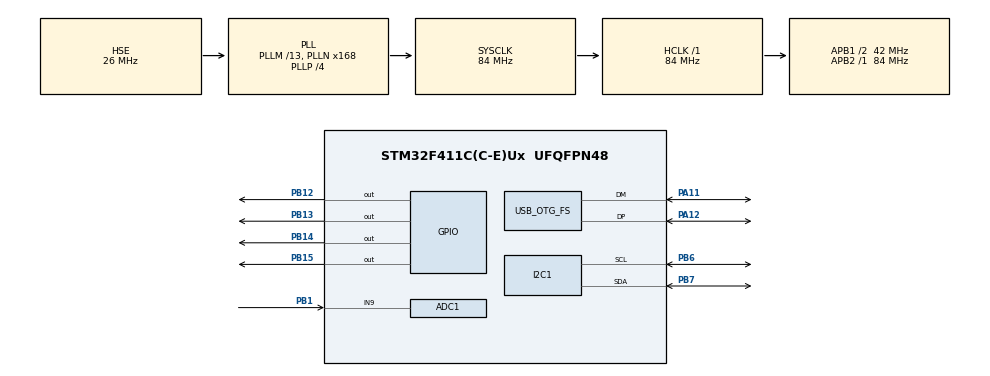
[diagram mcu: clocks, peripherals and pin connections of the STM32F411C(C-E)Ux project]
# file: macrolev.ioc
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ADC1.Channel-1\#ChannelRegularConversion=ADC_CHANNEL_9
ADC1.NbrOfConversionFlag=1
ADC1.Rank-1\#ChannelRegularConversion=1
ADC1.SamplingTime-1\#ChannelRegularConversion=ADC_SAMPLETIME_3CYCLES
ADC1.master=1
Mcu.Family=STM32F4
Mcu.Name=STM32F411C(C-E)Ux
Mcu.Package=UFQFPN48
NVIC.OTG_FS_IRQn=true\:0\:0\:false\:false\:true\:true\:true\:true
NVIC.PriorityGroup=NVIC_PRIORITYGROUP_4
PA11.Mode=Device_Only
PA11.Signal=USB_OTG_FS_DM
PA12.Mode=Device_Only
PA12.Signal=USB_OTG_FS_DP
PA13.Signal=SYS_JTMS-SWDIO
PA14.Signal=SYS_JTCK-SWCLK
PB1.Signal=ADCx_IN9
PB12.Signal=GPIO_Output
PB13.Signal=GPIO_Output
PB14.Signal=GPIO_Output
PB15.Signal=GPIO_Output
PB6.GPIO_Pu=GPIO_PULLUP
PB6.Mode=I2C
PB6.Signal=I2C1_SCL
PB7.GPIO_Pu=GPIO_PULLUP
PB7.Mode=I2C
PB7.Signal=I2C1_SDA
PH0\ -\ OSC_IN.Mode=HSE-External-Oscillator
PH0\ -\ OSC_IN.Signal=RCC_OSC_IN
PH1\ -\ OSC_OUT.Mode=HSE-External-Oscillator
PH1\ -\ OSC_OUT.Signal=RCC_OSC_OUT
ProjectManager.HeapSize=0x200
ProjectManager.StackSize=0x400
ProjectManager.TargetToolchain=STM32CubeIDE
RCC.48MHZClocksFreq_Value=48000000
RCC.AHBFreq_Value=84000000
RCC.APB1CLKDivider=RCC_HCLK_DIV2
RCC.APB1Freq_Value=42000000
RCC.APB1TimFreq_Value=84000000
RCC.APB2Freq_Value=84000000
RCC.APB2TimFreq_Value=84000000
RCC.CortexFreq_Value=84000000
RCC.HCLKFreq_Value=84000000
RCC.HSE_VALUE=26000000
RCC.HSI_VALUE=16000000
RCC.LSE_VALUE=32768
RCC.PLLM=13
RCC.PLLN=168
RCC.PLLP=RCC_PLLP_DIV4
RCC.PLLQ=7
RCC.SYSCLKFreq_VALUE=84000000
RCC.SYSCLKSource=RCC_SYSCLKSOURCE_PLLCLK
RCC.VCOOutputFreq_Value=336000000
SH.ADCx_IN9.0=ADC1_IN9,IN9
USB_OTG_FS.VirtualMode=Device_Only
board=custom

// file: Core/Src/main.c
/* USER CODE BEGIN Header */
/**
 ******************************************************************************
 * @file           : main.c
 * @brief          : Main program body
 ******************************************************************************
 * @attention
 *
 * Copyright (c) 2023 STMicroelectronics.
 * All rights reserved.
 *
 * This software is licensed under terms that can be found in the LICENSE file
 * in the root directory of this software component.
 * If no LICENSE file comes with this software, it is provided AS-IS.
 *
 ******************************************************************************
 */
/* USER CODE END Header */
#include "main.h"

/* USER CODE BEGIN Includes */
#include "config.h"
#include "hid.h"
#include "keyboard.h"
#include "tusb.h"
#include <cdc.h>
#include <ctype.h>
/* USER CODE END Includes */

ADC_HandleTypeDef hadc1;

I2C_HandleTypeDef hi2c1;

PCD_HandleTypeDef hpcd_USB_OTG_FS;

/* USER CODE BEGIN PV */
ADC_ChannelConfTypeDef ADC_channel_Config = {0};

extern struct user_config keyboard_user_config;
extern struct key keyboard_keys[ADC_CHANNEL_COUNT][AMUX_CHANNEL_COUNT];

const uint32_t adc_channels[ADC_CHANNEL_COUNT] = {ADC_CHANNEL_9};
const uint32_t amux_select_pins[AMUX_SELECT_PINS_COUNT] = {GPIO_PIN_15, GPIO_PIN_14, GPIO_PIN_12, GPIO_PIN_13};

uint8_t key_init_state = 1; // Flag to check if keys are initialized
/* USER CODE END PV */

void SystemClock_Config(void);
static void MX_GPIO_Init(void);
static void MX_ADC1_Init(void);
static void MX_USB_OTG_FS_PCD_Init(void);
static void MX_I2C1_Init(void);

int main(void) {

  /* MCU Configuration--------------------------------------------------------*/

  /* Reset of all peripherals, Initializes the Flash interface and the Systick. */
  HAL_Init();

  /* Configure the system clock */
  SystemClock_Config();

  /* Initialize all configured peripherals */
  MX_GPIO_Init();
  MX_ADC1_Init();
  MX_USB_OTG_FS_PCD_Init();
  MX_I2C1_Init();
  /* USER CODE BEGIN 2 */

  ADC_channel_Config.Rank = 1;
  ADC_channel_Config.SamplingTime = ADC_SAMPLETIME_3CYCLES;
  keyboard_init_keys();
  tusb_rhport_init_t dev_init = {
      .role = TUSB_ROLE_DEVICE,
      .speed = TUSB_SPEED_AUTO};
  tusb_init(0, &dev_init); // initialize device stack on roothub port 0
  /* USER CODE END 2 */

  /* Infinite loop */
  /* USER CODE BEGIN WHILE */
  uint32_t start_at;

  while (1) {
    // MARK: Main loop
    start_at = HAL_GetTick();

    tud_task();
    keyboard_task();
    hid_task();
    cdc_task();

    /* USER CODE END WHILE */

  }
}

void SystemClock_Config(void) {
  RCC_OscInitTypeDef RCC_OscInitStruct = {0};
  RCC_ClkInitTypeDef RCC_ClkInitStruct = {0};

  /** Configure the main internal regulator output voltage
   */
  __HAL_RCC_PWR_CLK_ENABLE();
  __HAL_PWR_VOLTAGESCALING_CONFIG(PWR_REGULATOR_VOLTAGE_SCALE1);

  /** Initializes the RCC Oscillators according to the specified parameters
   * in the RCC_OscInitTypeDef structure.
   */
  RCC_OscInitStruct.OscillatorType = RCC_OSCILLATORTYPE_HSE;
  RCC_OscInitStruct.HSEState = RCC_HSE_ON;
  RCC_OscInitStruct.PLL.PLLState = RCC_PLL_ON;
  RCC_OscInitStruct.PLL.PLLSource = RCC_PLLSOURCE_HSE;
  RCC_OscInitStruct.PLL.PLLM = 13;
  RCC_OscInitStruct.PLL.PLLN = 168;
  RCC_OscInitStruct.PLL.PLLP = RCC_PLLP_DIV4;
  RCC_OscInitStruct.PLL.PLLQ = 7;
  if (HAL_RCC_OscConfig(&RCC_OscInitStruct) != HAL_OK) {
    Error_Handler();
  }

  /** Initializes the CPU, AHB and APB buses clocks
   */
  RCC_ClkInitStruct.ClockType = RCC_CLOCKTYPE_HCLK | RCC_CLOCKTYPE_SYSCLK | RCC_CLOCKTYPE_PCLK1 | RCC_CLOCKTYPE_PCLK2;
  RCC_ClkInitStruct.SYSCLKSource = RCC_SYSCLKSOURCE_PLLCLK;
  RCC_ClkInitStruct.AHBCLKDivider = RCC_SYSCLK_DIV1;
  RCC_ClkInitStruct.APB1CLKDivider = RCC_HCLK_DIV2;
  RCC_ClkInitStruct.APB2CLKDivider = RCC_HCLK_DIV1;

  if (HAL_RCC_ClockConfig(&RCC_ClkInitStruct, FLASH_LATENCY_2) != HAL_OK) {
    Error_Handler();
  }
}

static void MX_ADC1_Init(void) {

  ADC_ChannelConfTypeDef sConfig = {0};

  /** Configure the global features of the ADC (Clock, Resolution, Data Alignment and number of conversion)
   */
  hadc1.Instance = ADC1;
  hadc1.Init.ClockPrescaler = ADC_CLOCK_SYNC_PCLK_DIV4;
  hadc1.Init.Resolution = ADC_RESOLUTION_12B;
  hadc1.Init.ScanConvMode = DISABLE;
  hadc1.Init.ContinuousConvMode = DISABLE;
  hadc1.Init.DiscontinuousConvMode = DISABLE;
  hadc1.Init.ExternalTrigConvEdge = ADC_EXTERNALTRIGCONVEDGE_NONE;
  hadc1.Init.ExternalTrigConv = ADC_SOFTWARE_START;
  hadc1.Init.DataAlign = ADC_DATAALIGN_RIGHT;
  hadc1.Init.NbrOfConversion = 1;
  hadc1.Init.DMAContinuousRequests = DISABLE;
  hadc1.Init.EOCSelection = ADC_EOC_SINGLE_CONV;
  if (HAL_ADC_Init(&hadc1) != HAL_OK) {
    Error_Handler();
  }

  /** Configure for the selected ADC regular channel its corresponding rank in the sequencer and its sample time.
   */
  sConfig.Channel = ADC_CHANNEL_9;
  sConfig.Rank = 1;
  sConfig.SamplingTime = ADC_SAMPLETIME_3CYCLES;
  if (HAL_ADC_ConfigChannel(&hadc1, &sConfig) != HAL_OK) {
    Error_Handler();
  }
  /* USER CODE BEGIN ADC1_Init 2 */

  // memcpy(&ADC_channel_Config, &sConfig, sizeof(ADC_ChannelConfTypeDef));

  /* USER CODE END ADC1_Init 2 */
}

static void MX_I2C1_Init(void) {

  hi2c1.Instance = I2C1;
  hi2c1.Init.ClockSpeed = 400000;
  hi2c1.Init.DutyCycle = I2C_DUTYCYCLE_2;
  hi2c1.Init.OwnAddress1 = 0;
  hi2c1.Init.AddressingMode = I2C_ADDRESSINGMODE_7BIT;
  hi2c1.Init.DualAddressMode = I2C_DUALADDRESS_DISABLE;
  hi2c1.Init.OwnAddress2 = 0;
  hi2c1.Init.GeneralCallMode = I2C_GENERALCALL_DISABLE;
  hi2c1.Init.NoStretchMode = I2C_NOSTRETCH_DISABLE;
  if (HAL_I2C_Init(&hi2c1) != HAL_OK) {
    Error_Handler();
  }
}

static void MX_USB_OTG_FS_PCD_Init(void) {

  hpcd_USB_OTG_FS.Instance = USB_OTG_FS;
  hpcd_USB_OTG_FS.Init.dev_endpoints = 4;
  hpcd_USB_OTG_FS.Init.speed = PCD_SPEED_FULL;
  hpcd_USB_OTG_FS.Init.dma_enable = DISABLE;
  hpcd_USB_OTG_FS.Init.phy_itface = PCD_PHY_EMBEDDED;
  hpcd_USB_OTG_FS.Init.Sof_enable = DISABLE;
  hpcd_USB_OTG_FS.Init.low_power_enable = DISABLE;
  hpcd_USB_OTG_FS.Init.lpm_enable = DISABLE;
  hpcd_USB_OTG_FS.Init.vbus_sensing_enable = DISABLE;
  hpcd_USB_OTG_FS.Init.use_dedicated_ep1 = DISABLE;
  if (HAL_PCD_Init(&hpcd_USB_OTG_FS) != HAL_OK) {
    Error_Handler();
  }
}

static void MX_GPIO_Init(void) {
  GPIO_InitTypeDef GPIO_InitStruct = {0};

  /* GPIO Ports Clock Enable */
  __HAL_RCC_GPIOH_CLK_ENABLE();
  __HAL_RCC_GPIOB_CLK_ENABLE();
  __HAL_RCC_GPIOA_CLK_ENABLE();

  /*Configure GPIO pin Output Level */
  HAL_GPIO_WritePin(GPIOB, GPIO_PIN_12 | GPIO_PIN_13 | GPIO_PIN_14 | GPIO_PIN_15, GPIO_PIN_RESET);

  /*Configure GPIO pins : PB12 PB13 PB14 PB15 */
  GPIO_InitStruct.Pin = GPIO_PIN_12 | GPIO_PIN_13 | GPIO_PIN_14 | GPIO_PIN_15;
  GPIO_InitStruct.Mode = GPIO_MODE_OUTPUT_PP;
  GPIO_InitStruct.Pull = GPIO_NOPULL;
  GPIO_InitStruct.Speed = GPIO_SPEED_FREQ_LOW;
  HAL_GPIO_Init(GPIOB, &GPIO_InitStruct);

}

/* USER CODE BEGIN 4 */

// MARK: keyboard_* functions

void keyboard_read_config() {
  memcpy(&keyboard_user_config, (uint32_t *)CONFIG_ADDRESS, sizeof(keyboard_user_config));
}

uint8_t keyboard_write_config(uint8_t *buffer, uint16_t offset, uint16_t size) {
  if (offset >= sizeof(keyboard_user_config)) {
    return 0;
  }

  HAL_FLASH_Unlock();
  __HAL_FLASH_CLEAR_FLAG(FLASH_FLAG_EOP | FLASH_FLAG_OPERR | FLASH_FLAG_WRPERR | FLASH_FLAG_PGAERR | FLASH_FLAG_PGSERR);
  FLASH_Erase_Sector(FLASH_SECTOR_6, VOLTAGE_RANGE_3);
  for (uint16_t i = offset; i < size; i++) {
    if (HAL_FLASH_Program(FLASH_TYPEPROGRAM_BYTE, CONFIG_ADDRESS + i, buffer[i]) != HAL_OK) {
      HAL_FLASH_Lock();
    };
  }
  HAL_FLASH_Lock();
  return 1;
}

void keyboard_select_amux(uint8_t amux_channel) {
  // TODO: set GPIOs at the same time using bitmap on register
  for (uint8_t i = 0; i < AMUX_SELECT_PINS_COUNT; i++) {
    HAL_GPIO_WritePin(GPIOB, amux_select_pins[i], (amux_channel >> i) & 1);
  }
}

void keyboard_select_adc(uint8_t adc_channel) {
  ADC_channel_Config.Channel = adc_channels[adc_channel];
  HAL_ADC_ConfigChannel(&hadc1, &ADC_channel_Config);
  HAL_ADC_Start(&hadc1);
  HAL_ADC_PollForConversion(&hadc1, 1);
}

uint16_t keyboard_read_adc() {
  return HAL_ADC_GetValue(&hadc1);
}

void keyboard_close_adc() {
  HAL_ADC_Stop(&hadc1);
}

uint32_t keyboard_get_time() {
  return HAL_GetTick();
}

/* USER CODE END 4 */

void Error_Handler(void) {
  __disable_irq();
  while (1) {
  }
}
